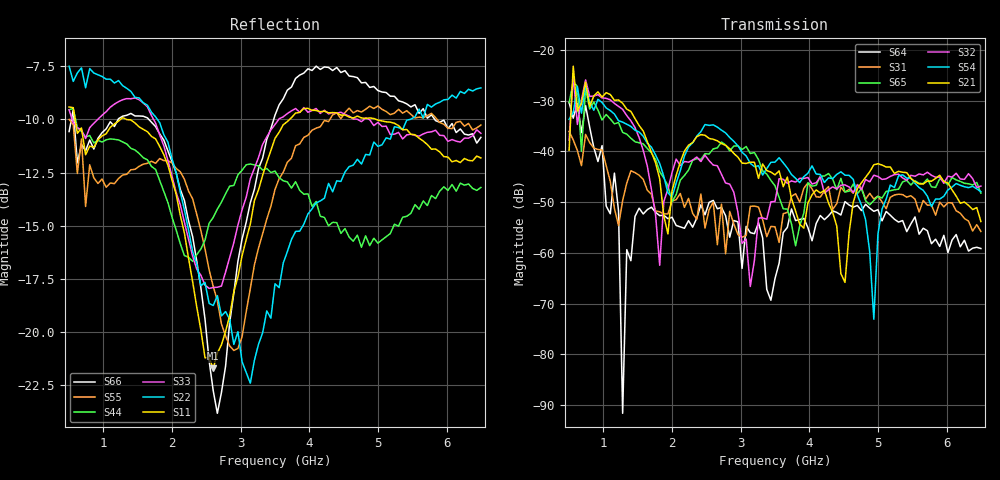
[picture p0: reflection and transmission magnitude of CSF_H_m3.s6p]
!Keysight Technologies,M9804A,MY58100912,A.14.10.03
!Date: Thursday, April 27, 2023 10:28:33
!Correction: S11(C  6-Port  )
!S12(C  6-Port  )
!S13(C  6-Port  )
!S14(C  6-Port  )
!S15(C  6-Port  )
!S16(C  6-Port  )
!S21(C  6-Port  )
!S22(C  6-Port  )
!S23(C  6-Port  )
!S24(C  6-Port  )
!S25(C  6-Port  )
!S26(C  6-Port  )
!S31(C  6-Port  )
!S32(C  6-Port  )
!S33(C  6-Port  )
!S34(C  6-Port  )
!S35(C  6-Port  )
!S36(C  6-Port  )
!S41(C  6-Port  )
!S42(C  6-Port  )
!S43(C  6-Port  )
!S44(C  6-Port  )
!S45(C  6-Port  )
!S46(C  6-Port  )
!S51(C  6-Port  )
!S52(C  6-Port  )
!S53(C  6-Port  )
!S54(C  6-Port  )
!S55(C  6-Port  )
!S56(C  6-Port  )
!S61(C  6-Port  )
!S62(C  6-Port  )
!S63(C  6-Port  )
!S64(C  6-Port  )
!S65(C  6-Port  )
!S66(C  6-Port  )
!S6P File: Measurement: :
# Hz S  RI  R 50
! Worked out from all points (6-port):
!   101 points, 500 MHz to 6.5 GHz, reference 50 ohm
!   strongest paths, dB at 500 MHz, 2 GHz, 3.5 GHz, 5 GHz, 6.5 GHz:
!     S21: -39.8, -47.7, -44.6, -42.4, -53.8
!     S54: -33.7, -48.9, -42.1, -56.3, -48.0
!     S32: -37.8, -44.2, -49.9, -44.9, -46.8
!     S65: -30.4, -49.9, -46.8, -48.8, -48.2
!     S31: -36.1, -49.8, -54.9, -48.8, -55.8
!     S64: -30.3, -53.0, -65.1, -51.5, -59.1
!   lowest |S11| = -21.7 dB at 2.6 GHz (marker M1), VSWR 1.18, Z = 42.6 + j2 ohm
!   |S11| at or under -10 dB: 587.3 MHz to 1.25 GHz (662.4 MHz wide, 72.1 % of centre); 1.334 GHz to 3.714 GHz (2.38 GHz wide, 94.3 % of centre); 4.972 GHz to end of sweep
